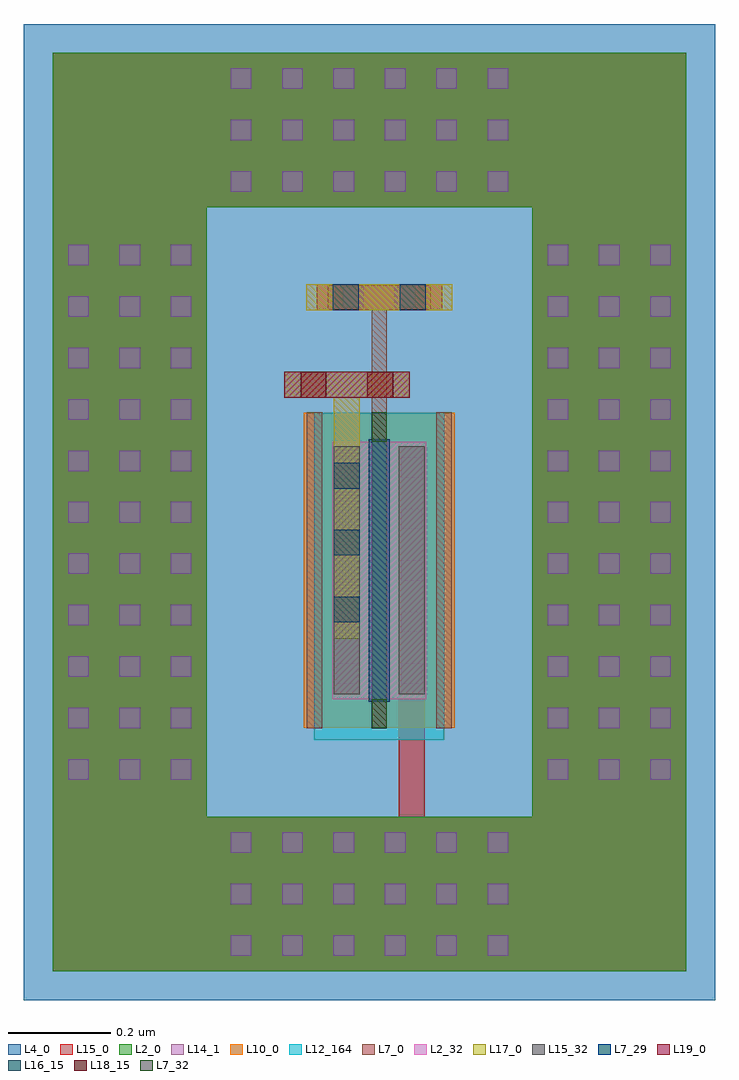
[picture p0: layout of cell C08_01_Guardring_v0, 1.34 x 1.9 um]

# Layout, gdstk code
import gdstk
lib = gdstk.Library(unit=1e-6, precision=1e-09)
def R(c, l, rs):  # rectangles x0, y0, x1, y1
    for r in rs: c.add(gdstk.rectangle(r[:2], r[2:], *l))
def A(c, l, x, y, w, h, nx, ny, dx, dy):  # array of equal rectangles
    R(c, l, [(x+i*dx, y+j*dy, x+i*dx+w, y+j*dy+h) for i in range(nx) for j in range(ny)])
L2_0 = (2, 0)
L2_32 = (2, 32)
L4_0 = (4, 0)
L7_0 = (7, 0)
L7_29 = (7, 29)
L7_32 = (7, 32)
L10_0 = (10, 0)
L12_164 = (12, 164)
L14_1 = (14, 1)
L15_0 = (15, 0)
L15_32 = (15, 32)
L16_15 = (16, 15)
L17_0 = (17, 0)
L18_15 = (18, 15)
L19_0 = (19, 0)

c08_01_guardring_v0_srf_ = lib.new_cell('C08_01_Guardring_v0:SRF_Tr11:SRF_Pmos:SRF_Source_ViaM1M2:SRF_ViaM1M2')
R(c08_01_guardring_v0_srf_, L15_0, [(0,-0.292,0.05,0.082)])
A(c08_01_guardring_v0_srf_, L16_15, 0, -0.26, 0.05, 0.05, 1, 3, 0, 0.13)
R(c08_01_guardring_v0_srf_, L17_0, [(0,-0.292,0.05,0.082)])

c_c08_01_guardring_v0_srf_ = lib.new_cell('C08_01_Guardring_v0:SRF_Tr11:SRF_Pmos:SRF_Source_ViaM1M2')
c_c08_01_guardring_v0_srf_.add(gdstk.Reference(c08_01_guardring_v0_srf_, (-0.025,0.105)))

c_c08_01_guardring_v0_srf__ = lib.new_cell('C08_01_Guardring_v0:SRF_Tr11:SRF_Pmos:SRF_Gate_ViaM0Mx:SRF_ViaM0M1')
R(c_c08_01_guardring_v0_srf__, L7_0, [(-0.01,-0.004,0.15,0.044)])
R(c_c08_01_guardring_v0_srf__, L14_1, [(0,0,0.04,0.04), (0.1,0,0.14,0.04)])
R(c_c08_01_guardring_v0_srf__, L15_0, [(-0.021,-0.005,0.161,0.045)])

c_c08_01_guardring_v0_srf___ = lib.new_cell('C08_01_Guardring_v0:SRF_Tr11:SRF_Pmos:SRF_Gate_ViaM0Mx:SRF_ViaM1M2')
R(c_c08_01_guardring_v0_srf___, L15_0, [(-0.032,0,0.212,0.05)])
R(c_c08_01_guardring_v0_srf___, L16_15, [(0,0,0.05,0.05), (0.13,0,0.18,0.05)])
R(c_c08_01_guardring_v0_srf___, L17_0, [(-0.032,0,0.212,0.05)])

c_c08_01_guardring_v0_srf____ = lib.new_cell('C08_01_Guardring_v0:SRF_Tr11:SRF_Pmos:SRF_Gate_ViaM0Mx')
c_c08_01_guardring_v0_srf____.add(gdstk.Reference(c_c08_01_guardring_v0_srf__, (-0.07,-0.02)))
c_c08_01_guardring_v0_srf____.add(gdstk.Reference(c_c08_01_guardring_v0_srf___, (-0.09,-0.025)))

c_c08_01_guardring_v0_srf_____ = lib.new_cell('C08_01_Guardring_v0:SRF_Tr11:SRF_Pmos')
R(c_c08_01_guardring_v0_srf_____, L2_0, [(-0.076,0.057,0.106,0.557)])
R(c_c08_01_guardring_v0_srf_____, L2_32, [(-0.076,0.057,0,0.557), (0.03,0.057,0.106,0.557)])
A(c_c08_01_guardring_v0_srf_____, L7_0, -0.126, 0, 0.03, 0.614, 3, 1, 0.126, 0)
R(c_c08_01_guardring_v0_srf_____, L7_0, [(0,0.614,0.03,0.814), (-0.085,0.814,0.115,0.862)])
R(c_c08_01_guardring_v0_srf_____, L7_29, [(-0.005,0.052,0.035,0.562)])
R(c_c08_01_guardring_v0_srf_____, L7_32, [(0,0,0.03,0.057), (0,0.557,0.03,0.614)])
R(c_c08_01_guardring_v0_srf_____, L10_0, [(-0.132,0.001,0.162,0.613)])
R(c_c08_01_guardring_v0_srf_____, L12_164, [(-0.111,-0.022,0.141,0.613)])
A(c_c08_01_guardring_v0_srf_____, L14_1, -0.068, 0.087, 0.04, 0.04, 1, 5, 0, 0.1)
A(c_c08_01_guardring_v0_srf_____, L14_1, 0.058, 0.087, 0.04, 0.04, 1, 5, 0, 0.1)
R(c_c08_01_guardring_v0_srf_____, L15_0, [(-0.073,0.066,-0.023,0.548), (-0.073,0.066,-0.023,0.548), (0.053,0.066,0.103,0.548), (0.053,0.066,0.103,0.548)])
R(c_c08_01_guardring_v0_srf_____, L15_32, [(-0.073,0.066,-0.023,0.548), (0.053,0.066,0.103,0.548)])
R(c_c08_01_guardring_v0_srf_____, L17_0, [(-0.073,0.548,-0.023,0.643), (-0.073,0.643,-0.023,0.693), (-0.127,0.813,0.157,0.863)])
c_c08_01_guardring_v0_srf_____.add(gdstk.Reference(c_c08_01_guardring_v0_srf_, (-0.048,0.361)))
c_c08_01_guardring_v0_srf_____.add(gdstk.Reference(c_c08_01_guardring_v0_srf____, (0.015,0.838)))

c_c08_01_guardring_v0_srf______ = lib.new_cell('C08_01_Guardring_v0:SRF_Tr11:SRF_Source_ViaM2M3:SRF_ViaM2M3')
R(c_c08_01_guardring_v0_srf______, L17_0, [(-0.032,0,0.212,0.05)])
R(c_c08_01_guardring_v0_srf______, L18_15, [(0,0,0.05,0.05), (0.13,0,0.18,0.05)])
R(c_c08_01_guardring_v0_srf______, L19_0, [(-0.032,0,0.212,0.05)])

c_c08_01_guardring_v0_srf_______ = lib.new_cell('C08_01_Guardring_v0:SRF_Tr11:SRF_Source_ViaM2M3')
c_c08_01_guardring_v0_srf_______.add(gdstk.Reference(c_c08_01_guardring_v0_srf______, (-0.09,-0.025)))

c_c08_01_guardring_v0_srf________ = lib.new_cell('C08_01_Guardring_v0:SRF_Tr11')
R(c_c08_01_guardring_v0_srf________, L19_0, [(-0.073,0.643,-0.023,0.693)])
c_c08_01_guardring_v0_srf________.add(gdstk.Reference(c_c08_01_guardring_v0_srf_____, (0,0)))
c_c08_01_guardring_v0_srf________.add(gdstk.Reference(c_c08_01_guardring_v0_srf_______, (-0.048,0.668)))

c08_01_guardring_v0__nbo = lib.new_cell('C08_01_Guardring_v0:_Nbodyring:SRF_NbodyTop:SRF_NbodyContactPhyLen')
R(c08_01_guardring_v0__nbo, L2_0, [(-0.046,-0.23,0.586,0.07)])
R(c08_01_guardring_v0__nbo, L4_0, [(-0.102,-0.286,0.642,0.126)])
A(c08_01_guardring_v0__nbo, L14_1, 0, -0.2, 0.04, 0.04, 6, 3, 0.1, 0.1)
R(c08_01_guardring_v0__nbo, L15_0, [(-0.046,-0.23,0.586,0.07)])

c_c08_01_guardring_v0__nbo = lib.new_cell('C08_01_Guardring_v0:_Nbodyring:SRF_NbodyTop')
c_c08_01_guardring_v0__nbo.add(gdstk.Reference(c08_01_guardring_v0__nbo, (0,0)))

c_c08_01_guardring_v0__nbo_ = lib.new_cell('C08_01_Guardring_v0:_Nbodyring:SRF_NbodyBottom:SRF_NbodyContactPhyLen')
R(c_c08_01_guardring_v0__nbo_, L2_0, [(-0.046,-0.23,0.586,0.07)])
R(c_c08_01_guardring_v0__nbo_, L4_0, [(-0.102,-0.286,0.642,0.126)])
A(c_c08_01_guardring_v0__nbo_, L14_1, 0, -0.2, 0.04, 0.04, 6, 3, 0.1, 0.1)
R(c_c08_01_guardring_v0__nbo_, L15_0, [(-0.046,-0.23,0.586,0.07)])

c_c08_01_guardring_v0__nbo__ = lib.new_cell('C08_01_Guardring_v0:_Nbodyring:SRF_NbodyBottom')
c_c08_01_guardring_v0__nbo__.add(gdstk.Reference(c_c08_01_guardring_v0__nbo_, (0,0)))

c_c08_01_guardring_v0__nbo___ = lib.new_cell('C08_01_Guardring_v0:_Nbodyring:SRF_NbodyLeft:SRF_NbodyContactPhyLen')
R(c_c08_01_guardring_v0__nbo___, L2_0, [(-0.03,-1.072,0.27,0.113)])
R(c_c08_01_guardring_v0__nbo___, L4_0, [(-0.086,-1.128,0.326,0.169)])
A(c_c08_01_guardring_v0__nbo___, L14_1, 0, -1, 0.04, 0.04, 3, 11, 0.1, 0.1)
R(c_c08_01_guardring_v0__nbo___, L15_0, [(-0.03,-1.072,0.27,0.113)])

c_c08_01_guardring_v0__nbo____ = lib.new_cell('C08_01_Guardring_v0:_Nbodyring:SRF_NbodyLeft')
c_c08_01_guardring_v0__nbo____.add(gdstk.Reference(c_c08_01_guardring_v0__nbo___, (0,0)))

c_c08_01_guardring_v0__nbo_____ = lib.new_cell('C08_01_Guardring_v0:_Nbodyring:SRF_NbodyRight:SRF_NbodyContactPhyLen')
R(c_c08_01_guardring_v0__nbo_____, L2_0, [(-0.03,-1.072,0.27,0.113)])
R(c_c08_01_guardring_v0__nbo_____, L4_0, [(-0.086,-1.128,0.326,0.169)])
A(c_c08_01_guardring_v0__nbo_____, L14_1, 0, -1, 0.04, 0.04, 3, 11, 0.1, 0.1)
R(c_c08_01_guardring_v0__nbo_____, L15_0, [(-0.03,-1.072,0.27,0.113)])

c_c08_01_guardring_v0__nbo______ = lib.new_cell('C08_01_Guardring_v0:_Nbodyring:SRF_NbodyRight')
c_c08_01_guardring_v0__nbo______.add(gdstk.Reference(c_c08_01_guardring_v0__nbo_____, (0,0)))

c_c08_01_guardring_v0__nbo_______ = lib.new_cell('C08_01_Guardring_v0:_Nbodyring')
R(c_c08_01_guardring_v0__nbo_______, L2_0, [(-0.346,-1.715,0.886,-1.415), (-0.346,-1.715,-0.046,0.07), (0.586,-1.715,0.886,0.07), (-0.346,-0.23,0.886,0.07)])
R(c_c08_01_guardring_v0__nbo_______, L4_0, [(-0.402,-1.771,0.942,-1.359), (-0.402,-1.771,0.01,0.126), (0.53,-1.771,0.942,0.126), (-0.402,-0.286,0.942,0.126)])
R(c_c08_01_guardring_v0__nbo_______, L15_0, [(-0.346,-1.715,0.886,-1.415), (-0.346,-1.715,-0.046,0.07), (0.586,-1.715,0.886,0.07), (-0.346,-0.23,0.886,0.07)])
c_c08_01_guardring_v0__nbo_______.add(gdstk.Reference(c_c08_01_guardring_v0__nbo, (0,0)))
c_c08_01_guardring_v0__nbo_______.add(gdstk.Reference(c_c08_01_guardring_v0__nbo__, (0,-1.485)))
c_c08_01_guardring_v0__nbo_______.add(gdstk.Reference(c_c08_01_guardring_v0__nbo____, (-0.316,-0.343)))
c_c08_01_guardring_v0__nbo_______.add(gdstk.Reference(c_c08_01_guardring_v0__nbo______, (0.616,-0.343)))

c08_01_guardring_v0 = lib.new_cell('C08_01_Guardring_v0')
R(c08_01_guardring_v0, L4_0, [(-0.676,-0.528,0.668,1.369)])
R(c08_01_guardring_v0, L15_0, [(0.053,-0.172,0.103,0.066)])
c08_01_guardring_v0.add(gdstk.Reference(c_c08_01_guardring_v0_srf________, (0,0)))
c08_01_guardring_v0.add(gdstk.Reference(c_c08_01_guardring_v0__nbo_______, (-0.274,1.243)))

lib.write_gds('C08_01_Guardring_v0.gds')
